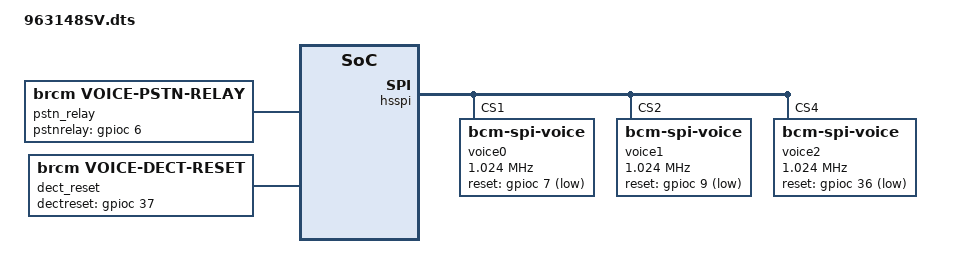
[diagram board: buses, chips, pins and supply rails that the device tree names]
#include "63148.dtsi"
#include "../bcm_voice.dtsi"

/ {
    memory_controller {
        memcfg = <(BP_DDR_SPEED_800_11_11_11 | \
                   BP_DDR_TOTAL_SIZE_1024MB  | \
                   BP_DDR_DEVICE_WIDTH_8)>;
    };

	pstn_relay:pstn_relay {
		compatible = "brcm,voice-pstn-relay";
		pstnrelay-gpio = <&gpioc 6 GPIO_ACTIVE_HIGH>;
	};

	dect_reset:dect_reset {
		compatible = "brcm,voice-dect-reset";
		dectreset-gpio = <&gpioc 37 GPIO_ACTIVE_HIGH>;
	};
};

&bcm_voice{
	sliclist = SLICSLAC_LIST_COMMON_FXO;
 };

&hsspi {
	status = "okay";
	voice0 {
		pinctrl-0 = <&a_spim_ss1_b_pin_127>;
		pinctrl-names = "default";
		compatible = "bcm-spi-voice";
		reg = <1>; /* chip select 1 */
		spi-max-frequency = <1024000>;
		reset-gpio = <&gpioc 7 GPIO_ACTIVE_LOW>;
		spi-index = <0>;/* voice header index */
	};
	voice1 {
		pinctrl-0 = <&spim_ss2_b_2_pin_25>;
		pinctrl-names = "default";
		compatible = "bcm-spi-voice";
		reg = <2>; /* chip select 2 */
		spi-max-frequency = <1024000>;
		reset-gpio = <&gpioc 9 GPIO_ACTIVE_LOW>;
		spi-index = <1>;/* voice header index */
	};
	voice2 {
		pinctrl-0 = <&spim_ss4_b_pin_8>;
		pinctrl-names = "default";
		compatible = "bcm-spi-voice";
		reg = <4>; /* chip select 2 */
		spi-max-frequency = <1024000>;
		reset-gpio = <&gpioc 36 GPIO_ACTIVE_LOW>;
		spi-index = <2>;/* voice header index */
	};
};



&mdio_sf2 {
	/* PHYs directly connected to SF2 */
	gphy8:8 {
		status = "okay";
	};
	gphy9:9 {
		status = "okay";
	};
	gphya:a {
		status = "okay";
	};
	gphyb:b {
		status = "okay";
	};

	/* PHYs connected to crossbar */
	gphyc:c {
		status = "okay";
	};

	/* Crossbar groups */
	xbar_grp1:1 {
		phy-handle = <&gphyc>;
		status = "okay";
	};
};

&switch_sf2 {
	ports {
		sf2_port0@0 {
			phy-handle = <&gphy8>;
			status = "okay";
		};

		sf2_port1@1 {
			phy-handle = <&gphy9>;
			status = "okay";
		};

		sf2_port2@2 {
			phy-handle = <&gphya>;
			status = "okay";
		};

		sf2_port3@3 {
			phy-handle = <&gphyb>;
			status = "okay";
		};

	};
};

&switch0 {
	ports {
		
		port0@0 {
			phy-handle = <&xbar_grp1>;
			phy-mode = "gmii";
			status = "okay";
		};
	};
};
